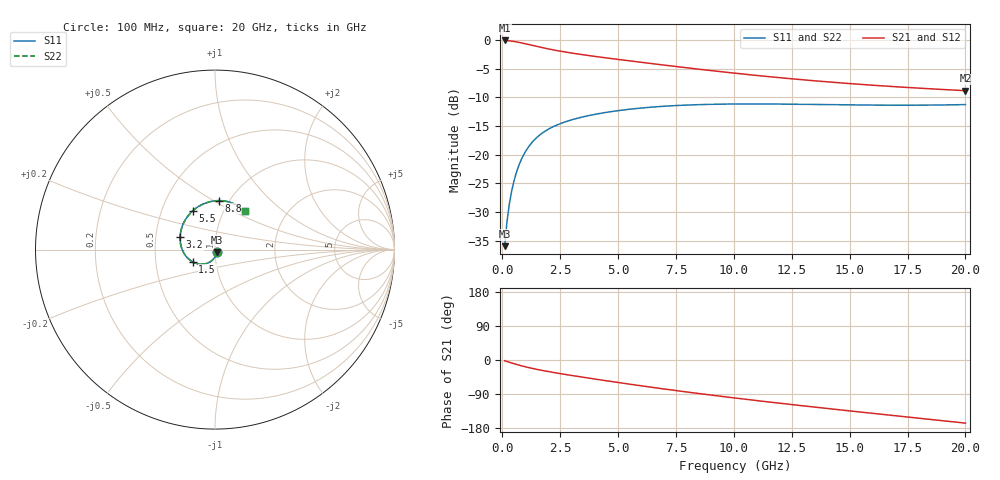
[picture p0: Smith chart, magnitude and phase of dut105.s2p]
! Touchstone file exported from HFSS 2023.1.0
!  File:  D:/Users/fzz/RDL_TSV/temp_RDL_TSV_105_1778749351.aedt
!  Generated:  5:13:11 %x4E0B%x5348  5%x6708 14, 2026
!  Design:  RDL_TSV
!  Project:  temp_RDL_TSV_105_1778749351
!  Setup:  Setup1
!  Solution:  Sweep
! Variables:
!  dtsv = 17.59um
!  hbump = 3um
!  htsv = 99.46um
!  ldown = 251.47um
!  lrdl = 253.91um
!  p = 40
!  p1 = 57.89um
!  rhole = 10um
!  subl = 1770.05um
!  t = 450um
!  tdown = 3.22um
!  trdl = 2.21um
!  viad = 10um
!  wdown = 21.04um
!  wrdl = 25.9um
!  xbump = 18um
# GHz S MA R 50.000000
! Terminal data exported
! Port[1] = TM1_1_T1
! Port[2] = TM1_4_T1
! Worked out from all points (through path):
!   200 points, 100 MHz to 20 GHz, reference 50 ohm
!   highest |S21| = -0.10 dB at 100 MHz (marker M1); lowest = -8.8 dB at 20 GHz (marker M2)
!   group delay of S21, straight-line fit = 21.5 ps
!   lowest |S11| = -35.9 dB at 100 MHz (marker M3), VSWR 1.03, Z = 51 - j1.27 ohm
!   |S11| at or under -10 dB: start of sweep to end of sweep
!   |S22| runs from -35.9 to -11.2 dB; largest |S21 - S12| = 7.7e-15
!   S11 on the Smith chart (normalised r, x): 100 MHz: 1.02, -0.03; 1.5 GHz: 0.77, -0.11; 3.2 GHz: 0.67, +0.10; 5.5 GHz: 0.72, +0.33; 8.8 GHz: 0.90, +0.53; 20 GHz: 1.26, +0.58
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0.1  0.01601 -51.3  0.9881 -2.0  0.9881 -2.0  0.01601 -51.3
! Gamma 0 0 0 0
! Port Impedance 50 0 50 0
0.2  0.02584 -73.9  0.9853 -4.0  0.9853 -4.0  0.02584 -73.9
0.3  0.03674 -86.4  0.9809 -5.9  0.9809 -5.9  0.03674 -86.4
0.4  0.04779 -95.3  0.9752 -7.8  0.9752 -7.8  0.0478 -95.3
0.5  0.05867 -102.7  0.9685 -9.7  0.9685 -9.7  0.05867 -102.7
0.6  0.0692 -109.1  0.9608 -11.4  0.9608 -11.4  0.0692 -109.1
0.8  0.08888 -120.4  0.9434 -14.8  0.9434 -14.8  0.08889 -120.4
1  0.1065 -130.3  0.9244 -18.0  0.9244 -18.0  0.1065 -130.3
1.2  0.122 -139.3  0.9048 -20.9  0.9048 -20.9  0.122 -139.2
1.5  0.1418 -151.2  0.8761 -24.8  0.8761 -24.8  0.1418 -151.2
2.2  0.1755 -174.4  0.818 -32.8  0.818 -32.8  0.1755 -174.3
3.2  0.2067 160.2  0.7564 -42.8  0.7564 -42.8  0.2066 160.3
3.5  0.214 153.8  0.7411 -45.6  0.7411 -45.6  0.2138 153.9
4.5  0.234 135.3  0.6961 -54.9  0.6961 -54.9  0.2336 135.3
5.5  0.249 120.0  0.6563 -63.8  0.6563 -63.8  0.2486 120.1
6.8  0.2629 104.0  0.6094 -74.9  0.6094 -74.9  0.2624 104.0
8.8  0.2741 85.5  0.5463 -90.9  0.5463 -90.9  0.2734 85.6
10.1  0.2765 76.6  0.5112 -100.7  0.5112 -100.7  0.2759 76.6
11.7  0.2764 68.2  0.4743 -112.1  0.4743 -112.1  0.2757 68.2
13.4  0.2741 61.7  0.4417 -123.7  0.4417 -123.7  0.2734 61.7
16.7  0.27 54.5  0.3942 -145.4  0.3942 -145.4  0.2692 54.5
20  0.2733 51.8  0.3611 -166.5  0.3611 -166.5  0.2726 51.7
